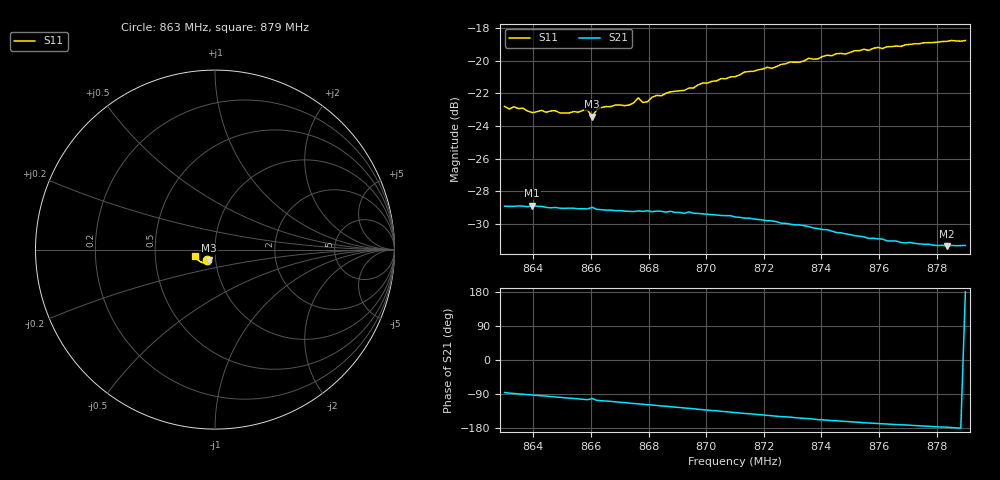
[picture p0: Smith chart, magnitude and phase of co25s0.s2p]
# HZ S RI R 50
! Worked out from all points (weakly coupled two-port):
!   101 points, 863 MHz to 879 MHz, reference 50 ohm
!   highest |S21| = -28.90 dB at 863.96 MHz (marker M1); lowest = -31.4 dB at 878.36 MHz (marker M2)
!   lowest |S11| = -23.4 dB at 866.04 MHz (marker M3), VSWR 1.14, Z = 46.6 - j5.53 ohm
!   |S11| at or under -10 dB: start of sweep to end of sweep
!   S12 and S22 are empty: the file has one direction only
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8.63e8  -0.0446 -0.057  0.00265 -0.0357  0 0  0 0
8.6316e8  -0.0439 -0.0559  0.00169 -0.0357  0 0  0 0
8.6364e8  -0.0429 -0.0572  -0.000277 -0.0358  0 0  0 0
8.6396e8  -0.0407 -0.0561  -0.00137 -0.0359  0 0  0 0
8.6572e8  -0.0377 -0.0595  -0.0083 -0.0341  0 0  0 0
8.6588e8  -0.0374 -0.0599  -0.00894 -0.034  0 0  0 0
8.6604e8  -0.0323 -0.0592  -0.00721 -0.0348  0 0  0 0
8.662e8  -0.0369 -0.0604  -0.00992 -0.0336  0 0  0 0
8.6636e8  -0.0372 -0.0615  -0.0105 -0.0333  0 0  0 0
8.6732e8  -0.0368 -0.0632  -0.0139 -0.0316  0 0  0 0
8.6764e8  -0.0391 -0.0663  -0.015 -0.0312  0 0  0 0
8.678e8  -0.038 -0.064  -0.0155 -0.0308  0 0  0 0
8.6796e8  -0.0373 -0.0649  -0.0163 -0.0306  0 0  0 0
8.6812e8  -0.039 -0.0667  -0.0165 -0.0302  0 0  0 0
8.6844e8  -0.0395 -0.0673  -0.018 -0.0295  0 0  0 0
8.6988e8  -0.0453 -0.0724  -0.0223 -0.0255  0 0  0 0
8.71e8  -0.0515 -0.073  -0.0249 -0.0219  0 0  0 0
8.7132e8  -0.0541 -0.0747  -0.0256 -0.0207  0 0  0 0
8.7372e8  -0.0706 -0.0724  -0.028 -0.0126  0 0  0 0
8.7644e8  -0.0934 -0.0591  -0.0275 -0.00499  0 0  0 0
8.7836e8  -0.1067 -0.0419  -0.0269 -0.00128  0 0  0 0
8.79e8  -0.1096 -0.0359  -0.0271 9.4e-05  0 0  0 0
